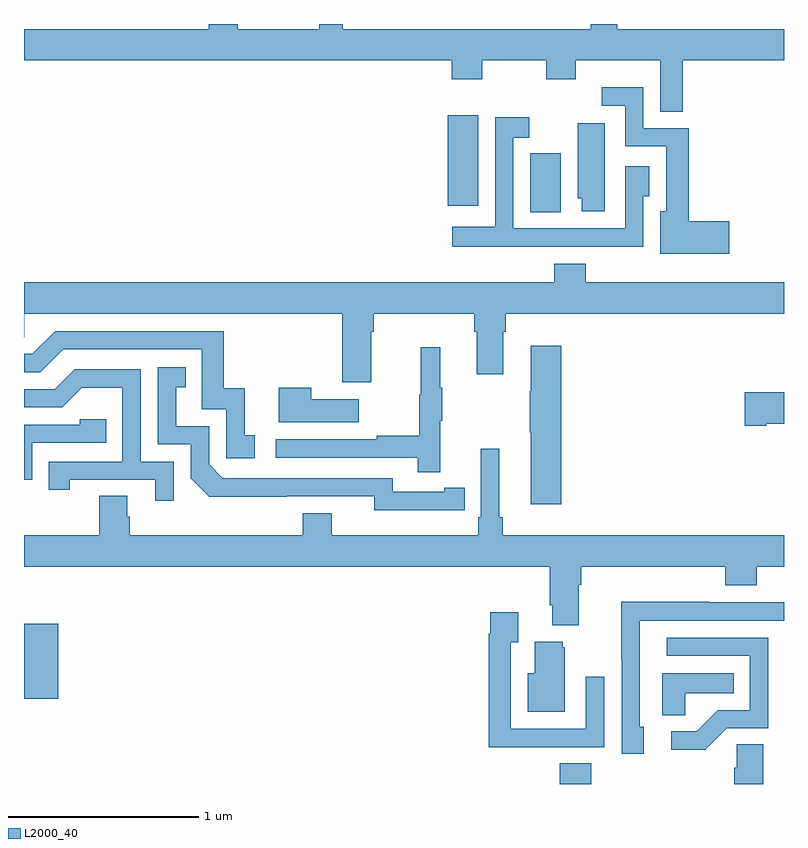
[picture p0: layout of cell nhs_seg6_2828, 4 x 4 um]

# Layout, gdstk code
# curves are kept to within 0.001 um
import gdstk
lib = gdstk.Library(unit=1e-6, precision=1e-09)
def R(c, l, rs):  # rectangles x0, y0, x1, y1
    for r in rs: c.add(gdstk.rectangle(r[:2], r[2:], *l))
def P(c, l, *ps):  # polygons
    for p in ps: c.add(gdstk.Polygon(p, *l))
L2000_40 = (2000, 40)

nhs_seg6_2828 = lib.new_cell('nhs_seg6_2828')
R(nhs_seg6_2828, L2000_40, [(279.821,971.5,279.986,971.609), (277,971.949,277.181,972.343), (279.665,974.509,279.826,974.82), (279.23,974.544,279.391,975.019)])
P(nhs_seg6_2828, L2000_40, [(280.468,975.308),(281,975.308),(281,975.472),(280.123,975.472),(280.123,975.5),(279.983,975.5),(279.983,975.472),(278.678,975.472),(278.678,975.5),(278.555,975.5),(278.555,975.472),(278.125,975.472),(278.125,975.5),(277.973,975.5),(277.973,975.472),(277,975.472),(277,975.308),(279.251,975.308),(279.251,975.209),(279.411,975.209),(279.411,975.308),(279.748,975.308),(279.748,975.209),(279.903,975.209),(279.903,975.308),(280.349,975.308),(280.349,975.037),(280.468,975.037)],
  [(280.711,974.462),(280.498,974.462),(280.498,974.952),(280.26,974.952),(280.26,975.166),(280.041,975.166),(280.041,975.069),(280.164,975.069),(280.164,974.856),(280.379,974.856),(280.379,974.515),(280.349,974.515),(280.349,974.291),(280.711,974.291)],
  [(279.673,974.328),(280.039,974.328),(280.039,974.327),(280.26,974.327),(280.26,974.593),(280.291,974.593),(280.291,974.752),(280.164,974.752),(280.164,974.424),(279.576,974.424),(279.576,974.901),(279.658,974.901),(279.658,975.01),(279.48,975.01),(279.48,974.434),(279.255,974.434),(279.255,974.327),(279.673,974.327)],
  [(280.057,974.977),(279.914,974.977),(279.914,974.583),(279.935,974.583),(279.935,974.514),(280.057,974.514)],
  [(278.827,973.88),(278.84,973.88),(278.84,973.976),(279.371,973.976),(279.371,973.88),(279.383,973.88),(279.383,973.656),(279.523,973.656),(279.523,973.88),(279.536,973.88),(279.536,973.976),(281,973.976),(281,974.14),(279.956,974.14),(279.956,974.239),(279.791,974.239),(279.791,974.14),(277,974.14),(277,973.849),(277.002,973.849),(277.002,973.976),(278.675,973.976),(278.675,973.614),(278.827,973.614)],
  [(278.215,973.335),(278.162,973.335),(278.162,973.582),(278.051,973.582),(278.051,973.884),(277.164,973.884),(277.044,973.764),(277,973.764),(277,973.668),(277.086,973.668),(277.206,973.788),(277.935,973.788),(277.935,973.473),(278.064,973.473),(278.064,973.215),(278.215,973.215)],
  [(279.827,973.807),(279.668,973.807),(279.668,973.568),(279.661,973.568),(279.661,973.351),(279.668,973.351),(279.668,972.972),(279.827,972.972)],
  [(279.191,973.411),(279.202,973.411),(279.202,973.585),(279.191,973.585),(279.191,973.798),(279.088,973.798),(279.088,973.548),(279.081,973.548),(279.081,973.334),(278.857,973.334),(278.857,973.314),(278.325,973.314),(278.325,973.218),(279.073,973.218),(279.073,973.14),(279.191,973.14)],
  [(279.212,972.942),(279.32,972.942),(279.32,973.058),(279.212,973.058),(279.212,973.038),(278.94,973.038),(278.94,973.11),(278.046,973.11),(277.974,973.182),(277.974,973.383),(277.801,973.383),(277.801,973.587),(277.85,973.587),(277.85,973.693),(277.704,973.693),(277.704,973.287),(277.878,973.287),(277.878,973.11),(277.976,973.013),(278.844,973.014),(278.844,972.941)],
  [(277.788,973.197),(277.614,973.197),(277.614,973.683),(277.268,973.683),(277.163,973.578),(277,973.578),(277,973.482),(277.2,973.482),(277.304,973.586),(277.518,973.586),(277.518,973.197),(277.129,973.197),(277.129,973.05),(277.24,973.05),(277.24,973.101),(277.691,973.101),(277.691,972.99),(277.788,972.99)],
  [(278.761,973.525),(278.513,973.525),(278.513,973.585),(278.342,973.585),(278.342,973.403),(278.761,973.403)],
  [(280.906,973.397),(281,973.397),(281,973.563),(280.794,973.563),(280.794,973.385),(280.906,973.385)],
  [(277.044,973.296),(277.433,973.296),(277.433,973.419),(277.293,973.419),(277.293,973.392),(277,973.392),(277,973.101),(277.044,973.101)],
  [(279.919,972.548),(279.932,972.548),(279.932,972.644),(280.691,972.644),(280.691,972.545),(280.856,972.545),(280.856,972.644),(281,972.644),(281,972.808),(279.521,972.808),(279.521,972.904),(279.502,972.904),(279.502,973.264),(279.405,973.264),(279.405,972.904),(279.392,972.904),(279.392,972.808),(278.62,972.808),(278.62,972.925),(278.468,972.925),(278.468,972.808),(277.556,972.808),(277.556,972.906),(277.543,972.906),(277.543,973.016),(277.396,973.016),(277.396,972.808),(277,972.808),(277,972.644),(279.767,972.644),(279.767,972.442),(279.779,972.442),(279.779,972.335),(279.919,972.335)],
  [(280.261,971.802),(280.242,971.802),(280.242,972.36),(281,972.36),(281,972.456),(280.607,972.456),(280.607,972.458),(280.144,972.458),(280.144,972.151),(280.146,972.151),(280.146,971.658),(280.261,971.658)],
  [(279.737,971.694),(280.053,971.694),(280.053,972.064),(279.957,972.064),(279.957,971.79),(279.561,971.79),(279.561,972.247),(279.601,972.247),(279.601,972.403),(279.453,972.403),(279.453,972.29),(279.445,972.29),(279.445,971.693),(279.737,971.693)],
  [(280.698,971.793),(280.917,971.793),(280.917,972.27),(280.383,972.27),(280.383,972.174),(280.821,972.174),(280.821,971.889),(280.652,971.889),(280.541,971.778),(280.407,971.778),(280.407,971.681),(280.585,971.681)],
  [(279.847,972.219),(279.836,972.219),(279.836,972.25),(279.689,972.25),(279.689,972.082),(279.65,972.082),(279.65,971.879),(279.847,971.879)],
  [(280.479,971.978),(280.736,971.978),(280.736,972.082),(280.358,972.082),(280.358,971.863),(280.479,971.863)],
  [(280.891,971.708),(280.752,971.708),(280.752,971.585),(280.739,971.585),(280.739,971.5),(280.891,971.5)])

lib.write_gds('nhs_seg6_2828.gds')
